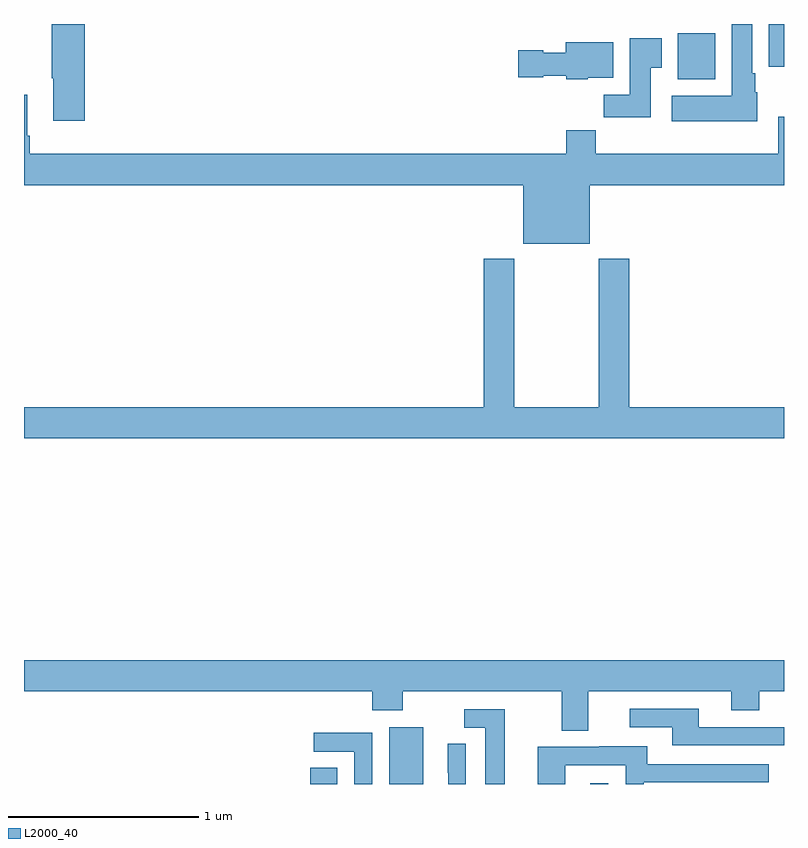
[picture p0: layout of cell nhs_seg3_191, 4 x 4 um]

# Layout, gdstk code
import gdstk
lib = gdstk.Library(unit=1e-6, precision=1e-09)
def R(c, l, rs):  # rectangles x0, y0, x1, y1
    for r in rs: c.add(gdstk.rectangle(r[:2], r[2:], *l))
def P(c, l, *ps):  # polygons
    for p in ps: c.add(gdstk.Polygon(p, *l))
L2000_40 = (2000, 40)

nhs_seg3_191 = lib.new_cell('nhs_seg3_191')
R(nhs_seg3_191, L2000_40, [(120.506,728.4,120.649,728.486), (120.923,728.4,121.102,728.698), (121.979,728.4,122.076,728.404), (122.441,732.11,122.638,732.352), (122.921,732.176,123,732.4)])
P(nhs_seg3_191, L2000_40, [(119.321,732.4),(119.146,732.4),(119.146,732.115),(119.153,732.115),(119.153,731.892),(119.321,731.892)],
  [(122.86,732.042),(122.848,732.042),(122.848,732.142),(122.833,732.142),(122.833,732.4),(122.726,732.4),(122.726,732.022),(122.409,732.022),(122.409,731.888),(122.86,731.888)],
  [(122.299,732.169),(122.356,732.169),(122.356,732.325),(122.189,732.325),(122.189,732.028),(122.05,732.028),(122.05,731.91),(122.299,731.91)],
  [(121.968,732.116),(122.101,732.116),(122.101,732.304),(121.85,732.304),(121.85,732.25),(121.734,732.25),(121.734,732.263),(121.602,732.263),(121.602,732.121),(121.734,732.121),(121.734,732.128),(121.854,732.128),(121.854,732.11),(121.968,732.11)],
  [(121.978,731.552),(123,731.552),(123,731.911),(122.969,731.911),(122.969,731.716),(122.009,731.716),(122.009,731.84),(121.853,731.84),(121.853,731.716),(119.03,731.716),(119.03,731.812),(119.017,731.812),(119.017,732.028),(119,732.028),(119,731.552),(121.628,731.552),(121.628,731.243),(121.978,731.243)],
  [(123,730.384),(122.186,730.384),(122.186,731.164),(122.026,731.164),(122.026,730.384),(121.581,730.384),(121.581,731.164),(121.421,731.164),(121.421,730.384),(119,730.384),(119,730.22),(123,730.22)],
  [(121.969,728.888),(122.723,728.888),(122.723,728.789),(122.871,728.789),(122.871,728.888),(123,728.888),(123,729.052),(119,729.052),(119,728.888),(120.833,728.888),(120.833,728.789),(120.993,728.789),(120.993,728.888),(121.829,728.888),(121.829,728.68),(121.969,728.68)],
  [(123,728.7),(122.551,728.7),(122.551,728.796),(122.187,728.796),(122.187,728.7),(122.411,728.7),(122.411,728.604),(123,728.604)],
  [(121.531,728.793),(121.317,728.793),(121.317,728.697),(121.427,728.697),(121.427,728.4),(121.531,728.4)],
  [(120.834,728.67),(120.525,728.67),(120.525,728.571),(120.738,728.571),(120.738,728.4),(120.834,728.4)],
  [(121.326,728.612),(121.23,728.612),(121.23,728.458),(121.232,728.458),(121.232,728.4),(121.326,728.4)],
  [(121.848,728.499),(122.166,728.499),(122.166,728.4),(122.262,728.4),(122.262,728.409),(122.921,728.409),(122.921,728.505),(122.281,728.505),(122.281,728.599),(122.027,728.599),(122.027,728.595),(121.703,728.595),(121.703,728.4),(121.848,728.4)])

lib.write_gds('nhs_seg3_191.gds')
